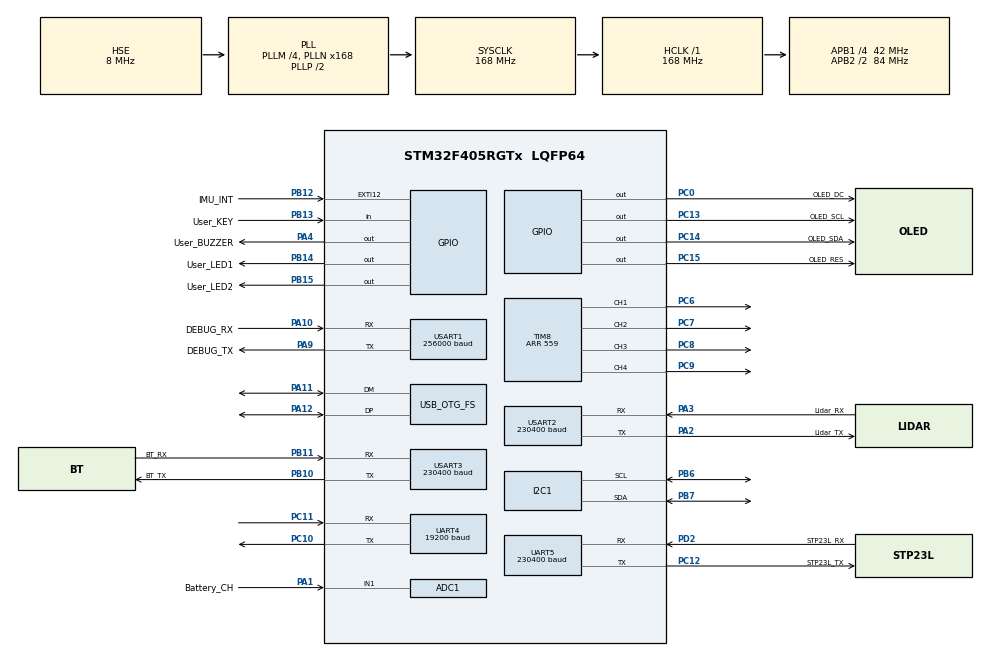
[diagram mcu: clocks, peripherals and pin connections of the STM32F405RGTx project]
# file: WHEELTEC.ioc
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ADC1.Channel-0\#ChannelRegularConversion=ADC_CHANNEL_1
ADC1.ClockPrescaler=ADC_CLOCK_SYNC_PCLK_DIV6
ADC1.ContinuousConvMode=ENABLE
ADC1.DMAContinuousRequests=ENABLE
ADC1.NbrOfConversionFlag=1
ADC1.Rank-0\#ChannelRegularConversion=1
ADC1.SamplingTime-0\#ChannelRegularConversion=ADC_SAMPLETIME_480CYCLES
ADC1.ScanConvMode=ENABLE
ADC1.master=1
Dma.ADC1.6.Direction=DMA_PERIPH_TO_MEMORY
Dma.ADC1.6.FIFOMode=DMA_FIFOMODE_DISABLE
Dma.ADC1.6.Instance=DMA2_Stream0
Dma.ADC1.6.MemDataAlignment=DMA_MDATAALIGN_HALFWORD
Dma.ADC1.6.MemInc=DMA_MINC_ENABLE
Dma.ADC1.6.Mode=DMA_CIRCULAR
Dma.ADC1.6.PeriphDataAlignment=DMA_PDATAALIGN_HALFWORD
Dma.ADC1.6.PeriphInc=DMA_PINC_DISABLE
Dma.ADC1.6.Priority=DMA_PRIORITY_LOW
Dma.Request0=USART3_TX
Dma.Request1=USART2_RX
Dma.Request2=TIM8_CH1
Dma.Request3=TIM8_CH2
Dma.Request4=TIM8_CH3
Dma.Request5=TIM8_CH4/TRIG/COM
Dma.Request6=ADC1
Dma.Request7=UART5_RX
Dma.Request8=UART4_RX
Dma.TIM8_CH1.2.Direction=DMA_MEMORY_TO_PERIPH
Dma.TIM8_CH1.2.FIFOMode=DMA_FIFOMODE_DISABLE
Dma.TIM8_CH1.2.Instance=DMA2_Stream2
Dma.TIM8_CH1.2.MemDataAlignment=DMA_MDATAALIGN_HALFWORD
Dma.TIM8_CH1.2.MemInc=DMA_MINC_ENABLE
Dma.TIM8_CH1.2.Mode=DMA_NORMAL
Dma.TIM8_CH1.2.PeriphDataAlignment=DMA_PDATAALIGN_HALFWORD
Dma.TIM8_CH1.2.PeriphInc=DMA_PINC_DISABLE
Dma.TIM8_CH1.2.Priority=DMA_PRIORITY_LOW
Dma.TIM8_CH2.3.Direction=DMA_MEMORY_TO_PERIPH
Dma.TIM8_CH2.3.FIFOMode=DMA_FIFOMODE_DISABLE
Dma.TIM8_CH2.3.Instance=DMA2_Stream3
Dma.TIM8_CH2.3.MemDataAlignment=DMA_MDATAALIGN_HALFWORD
Dma.TIM8_CH2.3.MemInc=DMA_MINC_ENABLE
Dma.TIM8_CH2.3.Mode=DMA_NORMAL
Dma.TIM8_CH2.3.PeriphDataAlignment=DMA_PDATAALIGN_HALFWORD
Dma.TIM8_CH2.3.PeriphInc=DMA_PINC_DISABLE
Dma.TIM8_CH2.3.Priority=DMA_PRIORITY_LOW
Dma.TIM8_CH3.4.Direction=DMA_MEMORY_TO_PERIPH
Dma.TIM8_CH3.4.FIFOMode=DMA_FIFOMODE_DISABLE
Dma.TIM8_CH3.4.Instance=DMA2_Stream4
Dma.TIM8_CH3.4.MemDataAlignment=DMA_MDATAALIGN_HALFWORD
Dma.TIM8_CH3.4.MemInc=DMA_MINC_ENABLE
Dma.TIM8_CH3.4.Mode=DMA_NORMAL
Dma.TIM8_CH3.4.PeriphDataAlignment=DMA_PDATAALIGN_HALFWORD
Dma.TIM8_CH3.4.PeriphInc=DMA_PINC_DISABLE
Dma.TIM8_CH3.4.Priority=DMA_PRIORITY_LOW
Dma.TIM8_CH4/TRIG/COM.5.Direction=DMA_MEMORY_TO_PERIPH
Dma.TIM8_CH4/TRIG/COM.5.FIFOMode=DMA_FIFOMODE_DISABLE
Dma.TIM8_CH4/TRIG/COM.5.Instance=DMA2_Stream7
Dma.TIM8_CH4/TRIG/COM.5.MemDataAlignment=DMA_MDATAALIGN_HALFWORD
Dma.TIM8_CH4/TRIG/COM.5.MemInc=DMA_MINC_ENABLE
Dma.TIM8_CH4/TRIG/COM.5.Mode=DMA_NORMAL
Dma.TIM8_CH4/TRIG/COM.5.PeriphDataAlignment=DMA_PDATAALIGN_HALFWORD
Dma.TIM8_CH4/TRIG/COM.5.PeriphInc=DMA_PINC_DISABLE
Dma.TIM8_CH4/TRIG/COM.5.Priority=DMA_PRIORITY_LOW
Dma.UART4_RX.8.Direction=DMA_PERIPH_TO_MEMORY
Dma.UART4_RX.8.FIFOMode=DMA_FIFOMODE_DISABLE
Dma.UART4_RX.8.Instance=DMA1_Stream2
Dma.UART4_RX.8.MemDataAlignment=DMA_MDATAALIGN_BYTE
Dma.UART4_RX.8.MemInc=DMA_MINC_ENABLE
Dma.UART4_RX.8.Mode=DMA_NORMAL
Dma.UART4_RX.8.PeriphDataAlignment=DMA_PDATAALIGN_BYTE
Dma.UART4_RX.8.PeriphInc=DMA_PINC_DISABLE
Dma.UART4_RX.8.Priority=DMA_PRIORITY_LOW
Dma.UART5_RX.7.Direction=DMA_PERIPH_TO_MEMORY
Dma.UART5_RX.7.FIFOMode=DMA_FIFOMODE_DISABLE
Dma.UART5_RX.7.Instance=DMA1_Stream0
Dma.UART5_RX.7.MemDataAlignment=DMA_MDATAALIGN_BYTE
Dma.UART5_RX.7.MemInc=DMA_MINC_ENABLE
Dma.UART5_RX.7.Mode=DMA_NORMAL
Dma.UART5_RX.7.PeriphDataAlignment=DMA_PDATAALIGN_BYTE
Dma.UART5_RX.7.PeriphInc=DMA_PINC_DISABLE
Dma.UART5_RX.7.Priority=DMA_PRIORITY_LOW
Dma.USART2_RX.1.Direction=DMA_PERIPH_TO_MEMORY
Dma.USART2_RX.1.FIFOMode=DMA_FIFOMODE_DISABLE
Dma.USART2_RX.1.Instance=DMA1_Stream5
Dma.USART2_RX.1.MemDataAlignment=DMA_MDATAALIGN_BYTE
Dma.USART2_RX.1.MemInc=DMA_MINC_ENABLE
Dma.USART2_RX.1.Mode=DMA_NORMAL
Dma.USART2_RX.1.PeriphDataAlignment=DMA_PDATAALIGN_BYTE
Dma.USART2_RX.1.PeriphInc=DMA_PINC_DISABLE
Dma.USART2_RX.1.Priority=DMA_PRIORITY_HIGH
Dma.USART3_TX.0.Direction=DMA_MEMORY_TO_PERIPH
Dma.USART3_TX.0.FIFOMode=DMA_FIFOMODE_DISABLE
Dma.USART3_TX.0.Instance=DMA1_Stream3
Dma.USART3_TX.0.MemDataAlignment=DMA_MDATAALIGN_BYTE
Dma.USART3_TX.0.MemInc=DMA_MINC_ENABLE
Dma.USART3_TX.0.Mode=DMA_NORMAL
Dma.USART3_TX.0.PeriphDataAlignment=DMA_PDATAALIGN_BYTE
Dma.USART3_TX.0.PeriphInc=DMA_PINC_DISABLE
Dma.USART3_TX.0.Priority=DMA_PRIORITY_LOW
FREERTOS.Tasks01=defaultTask,24,128,StartDefaultTask,Default,NULL,Dynamic,NULL,NULL
FREERTOS.configCHECK_FOR_STACK_OVERFLOW=2
FREERTOS.configENABLE_FPU=1
FREERTOS.configGENERATE_RUN_TIME_STATS=1
FREERTOS.configLIBRARY_MAX_SYSCALL_INTERRUPT_PRIORITY=5
FREERTOS.configMINIMAL_STACK_SIZE=128
FREERTOS.configTIMER_TASK_PRIORITY=25
FREERTOS.configTIMER_TASK_STACK_DEPTH=256
FREERTOS.configTOTAL_HEAP_SIZE=25600
FREERTOS.configUSE_IDLE_HOOK=1
FREERTOS.configUSE_MALLOC_FAILED_HOOK=1
FREERTOS.configUSE_STATS_FORMATTING_FUNCTIONS=1
I2C1.I2C_Mode=I2C_Fast
Mcu.Family=STM32F4
Mcu.Name=STM32F405RGTx
Mcu.Package=LQFP64
NVIC.DMA1_Stream0_IRQn=true\:5\:0\:false\:false\:true\:true\:false\:true\:true
NVIC.DMA1_Stream2_IRQn=true\:5\:0\:false\:false\:true\:true\:false\:true\:true
NVIC.DMA1_Stream3_IRQn=true\:5\:0\:false\:false\:true\:true\:false\:true\:true
NVIC.DMA1_Stream5_IRQn=true\:5\:0\:false\:false\:true\:true\:false\:true\:true
NVIC.DMA2_Stream0_IRQn=true\:5\:0\:false\:false\:true\:true\:false\:true\:true
NVIC.DMA2_Stream2_IRQn=true\:5\:0\:false\:false\:true\:true\:false\:true\:true
NVIC.DMA2_Stream3_IRQn=true\:5\:0\:false\:false\:true\:true\:false\:true\:true
NVIC.DMA2_Stream4_IRQn=true\:5\:0\:false\:false\:true\:true\:false\:true\:true
NVIC.DMA2_Stream7_IRQn=true\:5\:0\:false\:false\:true\:true\:false\:true\:true
NVIC.EXTI15_10_IRQn=true\:5\:0\:true\:false\:true\:false\:true\:true\:true
NVIC.OTG_FS_IRQn=true\:5\:0\:false\:false\:true\:true\:true\:true\:true
NVIC.PriorityGroup=NVIC_PRIORITYGROUP_4
NVIC.TIM7_IRQn=true\:0\:0\:true\:false\:true\:false\:false\:true\:true
NVIC.TIM8_UP_TIM13_IRQn=true\:5\:0\:false\:false\:true\:true\:true\:true\:true
NVIC.TimeBase=TIM7_IRQn
NVIC.TimeBaseIP=TIM7
NVIC.UART4_IRQn=true\:5\:0\:false\:false\:true\:true\:true\:true\:true
NVIC.UART5_IRQn=true\:5\:0\:false\:false\:true\:true\:true\:true\:true
NVIC.USART1_IRQn=true\:5\:0\:true\:false\:true\:true\:false\:true\:true
NVIC.USART2_IRQn=true\:8\:0\:true\:false\:true\:true\:true\:true\:true
NVIC.USART3_IRQn=true\:6\:0\:true\:false\:true\:true\:true\:true\:true
PA1.GPIO_Label=Battery_CH
PA1.Signal=ADCx_IN1
PA10.GPIO_Label=DEBUG_RX
PA10.Mode=Asynchronous
PA10.Signal=USART1_RX
PA11.Mode=Host_Only
PA11.Signal=USB_OTG_FS_DM
PA12.Mode=Host_Only
PA12.Signal=USB_OTG_FS_DP
PA13.Mode=Serial_Wire
PA13.Signal=SYS_JTMS-SWDIO
PA14.Mode=Serial_Wire
PA14.Signal=SYS_JTCK-SWCLK
PA2.GPIO_Label=Lidar_TX
PA2.Mode=Asynchronous
PA2.Signal=USART2_TX
PA3.GPIO_Label=Lidar_RX
PA3.Mode=Asynchronous
PA3.Signal=USART2_RX
PA4.GPIO_Label=User_BUZZER
PA4.GPIO_PuPd=GPIO_PULLDOWN
PA4.Signal=GPIO_Output
PA9.GPIO_Label=DEBUG_TX
PA9.Mode=Asynchronous
PA9.Signal=USART1_TX
PB10.GPIO_Label=BT_TX
PB10.Mode=Asynchronous
PB10.Signal=USART3_TX
PB11.GPIO_Label=BT_RX
PB11.Mode=Asynchronous
PB11.Signal=USART3_RX
PB12.GPIO_Label=IMU_INT
PB12.GPIO_ModeDefaultEXTI=GPIO_MODE_IT_RISING
PB12.GPIO_PuPd=GPIO_PULLDOWN
PB12.Signal=GPXTI12
PB13.GPIO_Label=User_KEY
PB13.Signal=GPIO_Input
PB14.GPIO_Label=User_LED1
PB14.GPIO_ModeDefaultOutputPP=GPIO_MODE_OUTPUT_PP
PB14.GPIO_PuPd=GPIO_PULLUP
PB14.PinState=GPIO_PIN_SET
PB14.Signal=GPIO_Output
PB15.GPIO_Label=User_LED2
PB15.GPIO_PuPd=GPIO_PULLUP
PB15.PinState=GPIO_PIN_SET
PB15.Signal=GPIO_Output
PB6.Mode=I2C
PB6.Signal=I2C1_SCL
PB7.Mode=I2C
PB7.Signal=I2C1_SDA
PC0.GPIO_Label=OLED_DC
PC0.Signal=GPIO_Output
PC10.Mode=Asynchronous
PC10.Signal=UART4_TX
PC11.Mode=Asynchronous
PC11.Signal=UART4_RX
PC12.GPIO_Label=STP23L_TX
PC12.Mode=Asynchronous
PC12.Signal=UART5_TX
PC13-ANTI_TAMP.GPIO_Label=OLED_SCL
PC13-ANTI_TAMP.Signal=GPIO_Output
PC14-OSC32_IN.GPIO_Label=OLED_SDA
PC14-OSC32_IN.Signal=GPIO_Output
PC15-OSC32_OUT.GPIO_Label=OLED_RES
PC15-OSC32_OUT.Signal=GPIO_Output
PC6.GPIO_Speed=GPIO_SPEED_FREQ_VERY_HIGH
PC6.Signal=S_TIM8_CH1
PC7.GPIO_Speed=GPIO_SPEED_FREQ_VERY_HIGH
PC7.Signal=S_TIM8_CH2
PC8.GPIO_Speed=GPIO_SPEED_FREQ_VERY_HIGH
PC8.Signal=S_TIM8_CH3
PC9.GPIO_Speed=GPIO_SPEED_FREQ_VERY_HIGH
PC9.Signal=S_TIM8_CH4
PD2.GPIO_Label=STP23L_RX
PD2.Mode=Asynchronous
PD2.Signal=UART5_RX
PH0-OSC_IN.Mode=HSE-External-Oscillator
PH0-OSC_IN.Signal=RCC_OSC_IN
PH1-OSC_OUT.Mode=HSE-External-Oscillator
PH1-OSC_OUT.Signal=RCC_OSC_OUT
ProjectManager.HeapSize=0x200
ProjectManager.StackSize=0x400
ProjectManager.TargetToolchain=MDK-ARM V5.32
RCC.48MHZClocksFreq_Value=48000000
RCC.AHBFreq_Value=168000000
RCC.APB1CLKDivider=RCC_HCLK_DIV4
RCC.APB1Freq_Value=42000000
RCC.APB1TimFreq_Value=84000000
RCC.APB2CLKDivider=RCC_HCLK_DIV2
RCC.APB2Freq_Value=84000000
RCC.APB2TimFreq_Value=168000000
RCC.CortexFreq_Value=168000000
RCC.HCLKFreq_Value=168000000
RCC.HSE_VALUE=8000000
RCC.HSI_VALUE=16000000
RCC.LSE_VALUE=32768
RCC.PLLM=4
RCC.PLLN=168
RCC.PLLQ=7
RCC.SYSCLKFreq_VALUE=168000000
RCC.SYSCLKSource=RCC_SYSCLKSOURCE_PLLCLK
RCC.VCOOutputFreq_Value=336000000
SH.ADCx_IN1.0=ADC1_IN1,IN1
SH.S_TIM8_CH1.0=TIM8_CH1,PWM Generation1 CH1
SH.S_TIM8_CH2.0=TIM8_CH2,PWM Generation2 CH2
SH.S_TIM8_CH3.0=TIM8_CH3,PWM Generation3 CH3
SH.S_TIM8_CH4.0=TIM8_CH4,PWM Generation4 CH4
TIM6.Period=0xffff
TIM6.Prescaler=839
TIM8.Channel-PWM\ Generation1\ CH1=TIM_CHANNEL_1
TIM8.Channel-PWM\ Generation2\ CH2=TIM_CHANNEL_2
TIM8.Channel-PWM\ Generation3\ CH3=TIM_CHANNEL_3
TIM8.Channel-PWM\ Generation4\ CH4=TIM_CHANNEL_4
TIM8.Period=559
UART4.BaudRate=19200
UART4.VirtualMode=Asynchronous
UART5.BaudRate=230400
UART5.VirtualMode=Asynchronous
USART1.BaudRate=256000
USART1.VirtualMode=VM_ASYNC
USART2.BaudRate=230400
USART2.VirtualMode=VM_ASYNC
USART3.BaudRate=230400
USART3.VirtualMode=VM_ASYNC
USB_HOST.SW_VBUS_DRIVE_HID_FS=true
USB_HOST.USBH_HandleTypeDef-HID_FS=hUsbHostFS
USB_HOST.USBH_MAX_DATA_BUFFER-HID_FS=1024
USB_HOST.USBH_MAX_NUM_SUPPORTED_CLASS-HID_FS=2
USB_HOST.USBH_PROCESS_STACK_SIZE-HID_FS=1024
USB_HOST.VirtualModeFS=Hid
USB_OTG_FS.VirtualMode=Host_Only
USB_OTG_FS.phy_itface=HCD_PHY_EMBEDDED
VP_FREERTOS_VS_CMSIS_V2.Mode=CMSIS_V2
VP_SYS_VS_tim7.Mode=TIM7
VP_TIM6_VS_ClockSourceINT.Mode=Enable_Timer
VP_TIM8_VS_ClockSourceINT.Mode=Internal
VP_USB_HOST_VS_USB_HOST_HID_FS.Mode=HID_FS
board=custom

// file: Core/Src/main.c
/* USER CODE BEGIN Header */
/**
  ******************************************************************************
  * @file           : main.c
  * @brief          : Main program body
  ******************************************************************************
  * @attention
  *
  * Copyright (c) 2024 STMicroelectronics.
  * All rights reserved.
  *
  * This software is licensed under terms that can be found in the LICENSE file
  * in the root directory of this software component.
  * If no LICENSE file comes with this software, it is provided AS-IS.
  *
  ******************************************************************************
  */
/* USER CODE END Header */
#include "main.h"
#include "cmsis_os.h"
#include "adc.h"
#include "dma.h"
#include "i2c.h"
#include "tim.h"
#include "usart.h"
#include "usb_host.h"
#include "gpio.h"

/* USER CODE BEGIN Includes */
//C Lib
#include <stdio.h>

//FreeRTOS
#include "FreeRTOS.h"
#include "semphr.h"

//HAL

//BSP
#include "bsp_led.h"
#include "bsp_oled.h"
#include "bsp_adc.h"
#include "bsp_imu.h"
#include "bsp_LC307.h"

/* USER CODE END Includes */

/* USER CODE BEGIN PV */
uint8_t uart1_recv,uart4_recv;
float g_userparam_pitchzero = 0 , g_userparam_rollzero = 0;
DebugShowVal_t g_debugVal = { 0 };
/* USER CODE END PV */

void SystemClock_Config(void);
void MX_FREERTOS_Init(void);

int main(void)
{

  /* MCU Configuration--------------------------------------------------------*/

  /* Reset of all peripherals, Initializes the Flash interface and the Systick. */
  HAL_Init();

  /* Configure the system clock */
  SystemClock_Config();

  /* Initialize all configured peripherals */
  MX_GPIO_Init();
  MX_DMA_Init();
  MX_USART1_UART_Init();
  MX_USART2_UART_Init();
  MX_TIM6_Init();
  MX_TIM8_Init();
  MX_I2C1_Init();
  MX_ADC1_Init();
  MX_UART5_Init();
  MX_UART4_Init();
  MX_USART3_UART_Init();
  /* USER CODE BEGIN 2 */

	pOLEDInterface_t oled = &UserOLED;
	oled->init();

	//蓝牙、调试串口
	HAL_UART_Receive_IT(&huart4,&uart4_recv,1);
	HAL_UART_Receive_IT(&huart1,&uart1_recv,1);

	//用户调试定时器
	HAL_TIM_Base_Start(&htim6);

	//ADC初始化
	pADCInterface_t adc1 = &UserADC1;
	adc1->init();

	//使用硬件IIC时需要
	//检查硬件IIC是否出现BUSY异常
	if( (I2C1->SR2>>1)&0x01 )
	{
		HAL_I2C_MspDeInit(&hi2c1);

		//将IIC总线强制释放
		GPIO_InitTypeDef GPIO_InitStruct = {0};
		GPIO_InitStruct.Pin = GPIO_PIN_6|GPIO_PIN_7;
		GPIO_InitStruct.Mode = GPIO_MODE_OUTPUT_PP;
		GPIO_InitStruct.Pull = GPIO_PULLUP;
		GPIO_InitStruct.Speed = GPIO_SPEED_FREQ_LOW;
		HAL_GPIO_Init(GPIOB, &GPIO_InitStruct);
		HAL_GPIO_WritePin(GPIOB,GPIO_PIN_6,GPIO_PIN_SET);
		HAL_GPIO_WritePin(GPIOB,GPIO_PIN_7,GPIO_PIN_SET);

		//重新初始化IIC
		I2C1->CR1 &= ~(1<<0);//禁止IIC外设
		HAL_Delay(50);
		I2C1->CR1 |= (1<<0);//重新使能
		I2C1->CR1 |= (1<<15);//进行软件复位
		HAL_Delay(50);
		I2C1->CR1 &= ~(1<<15);
		MX_I2C1_Init();
	}

  //icm20948初始化与状态提示
  pLedInterface_t imu_initled = &UserLed1;
  pIMUInterface_t imu = &UserICM20948;

  imu_initled -> off();
  while( imu->Init() )
  {
	  imu_initled -> toggle();//初始化过程出错,闪烁
	  HAL_Delay(60);
	  NVIC_SystemReset();
  }
  imu_initled -> on();//初始化完成,亮灯提示

  //光流模块初始化
  Opf_LC307_Init();

  //读取用户设定的零点数据
  extern void User_Flash_ReadParam(uint32_t* p,uint16_t datalen);
  int32_t tmp[2] = { 0 } ;
  User_Flash_ReadParam((uint32_t*)tmp,2);
  if( tmp[0]!=0xffffffff )
	  g_userparam_pitchzero = *((float*)&tmp[0]);
  if( tmp[1]!=0xffffffff )
	  g_userparam_rollzero = *((float*)&tmp[1]);

  /* USER CODE END 2 */

  /* Init scheduler */
  osKernelInitialize();

  /* Call init function for freertos objects (in cmsis_os2.c) */
  MX_FREERTOS_Init();

  /* Start scheduler */
  osKernelStart();

  /* We should never get here as control is now taken by the scheduler */

  /* Infinite loop */
  while (1)
  {

  }
}

void SystemClock_Config(void)
{
  RCC_OscInitTypeDef RCC_OscInitStruct = {0};
  RCC_ClkInitTypeDef RCC_ClkInitStruct = {0};

  /** Configure the main internal regulator output voltage
  */
  __HAL_RCC_PWR_CLK_ENABLE();
  __HAL_PWR_VOLTAGESCALING_CONFIG(PWR_REGULATOR_VOLTAGE_SCALE1);

  /** Initializes the RCC Oscillators according to the specified parameters
  * in the RCC_OscInitTypeDef structure.
  */
  RCC_OscInitStruct.OscillatorType = RCC_OSCILLATORTYPE_HSE;
  RCC_OscInitStruct.HSEState = RCC_HSE_ON;
  RCC_OscInitStruct.PLL.PLLState = RCC_PLL_ON;
  RCC_OscInitStruct.PLL.PLLSource = RCC_PLLSOURCE_HSE;
  RCC_OscInitStruct.PLL.PLLM = 4;
  RCC_OscInitStruct.PLL.PLLN = 168;
  RCC_OscInitStruct.PLL.PLLP = RCC_PLLP_DIV2;
  RCC_OscInitStruct.PLL.PLLQ = 7;
  if (HAL_RCC_OscConfig(&RCC_OscInitStruct) != HAL_OK)
  {
    Error_Handler();
  }

  /** Initializes the CPU, AHB and APB buses clocks
  */
  RCC_ClkInitStruct.ClockType = RCC_CLOCKTYPE_HCLK|RCC_CLOCKTYPE_SYSCLK
                              |RCC_CLOCKTYPE_PCLK1|RCC_CLOCKTYPE_PCLK2;
  RCC_ClkInitStruct.SYSCLKSource = RCC_SYSCLKSOURCE_PLLCLK;
  RCC_ClkInitStruct.AHBCLKDivider = RCC_SYSCLK_DIV1;
  RCC_ClkInitStruct.APB1CLKDivider = RCC_HCLK_DIV4;
  RCC_ClkInitStruct.APB2CLKDivider = RCC_HCLK_DIV2;

  if (HAL_RCC_ClockConfig(&RCC_ClkInitStruct, FLASH_LATENCY_5) != HAL_OK)
  {
    Error_Handler();
  }
}

/* USER CODE BEGIN 4 */

UART_HandleTypeDef *DebugSerial = &huart1;

//实现printf、scanf函数
int fputc(int ch,FILE* stream)
{
	while( HAL_OK != HAL_UART_Transmit(DebugSerial,(const uint8_t *)&ch,1,100));
	return ch;
}

static xSemaphoreHandle debug_1_HandleMutex;
static char g_last_char;
static char g_backspace;

int fgetc(FILE* f)
{
	//没有初始化则调用初始化函数
	static uint8_t init = 0;
	if( init == 0 )
	{
		init = 1;
		debug_1_HandleMutex = xSemaphoreCreateMutex();
	}

	int ch;
	if( g_backspace )
	{
		xSemaphoreTake(debug_1_HandleMutex,portMAX_DELAY);
		g_backspace = 0 ;
		xSemaphoreGive(debug_1_HandleMutex);

		return g_last_char;
	}

	while( HAL_OK!= HAL_UART_Receive(DebugSerial,(uint8_t *)&ch,1,HAL_MAX_DELAY) );
	g_last_char = ch;
	return ch;
}

int __backspace(FILE *stream)
{
	xSemaphoreTake(debug_1_HandleMutex,portMAX_DELAY);
	g_backspace = 1 ;
	xSemaphoreGive(debug_1_HandleMutex);
	return 0;
}

//定时器8更新中断回调函数
__weak void User_TIM8_UpdateCallback(void)
{

}

/* USER CODE END 4 */

void HAL_TIM_PeriodElapsedCallback(TIM_HandleTypeDef *htim)
{
  if (htim->Instance == TIM7) {
    HAL_IncTick();
  }
  /* USER CODE BEGIN Callback 1 */
	else if(TIM8 == htim->Instance)
	{
		User_TIM8_UpdateCallback();
	}

  /* USER CODE END Callback 1 */
}

void Error_Handler(void)
{
  __disable_irq();
  while (1)
  {
  }
}

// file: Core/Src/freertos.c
/* USER CODE BEGIN Header */
/**
  ******************************************************************************
  * File Name          : freertos.c
  * Description        : Code for freertos applications
  ******************************************************************************
  * @attention
  *
  * Copyright (c) 2024 STMicroelectronics.
  * All rights reserved.
  *
  * This software is licensed under terms that can be found in the LICENSE file
  * in the root directory of this software component.
  * If no LICENSE file comes with this software, it is provided AS-IS.
  *
  ******************************************************************************
  */
/* USER CODE END Header */

#include "FreeRTOS.h"
#include "task.h"
#include "main.h"
#include "cmsis_os.h"

/* USER CODE BEGIN Includes */

//C Lib
#include <stdio.h>

#include "queue.h"
#include "semphr.h"
#include "event_groups.h"

//HAL
#include "usart.h"

//BSP
#include "bsp_stp23L.h"
#include "bsp_N10.h"

//APP
#include "balance_task.h"

/* USER CODE END Includes */

/* USER CODE BEGIN PD */
#define userconfig_OPEN_STACK_CHECK 0     //开启任务栈大小检查打印
#define userconfig_OPEN_CPU_USAGE_CHECK 0 //开启检查CPU占比打印
#define userconfig_OPEN_CHECK_HEAPSIZE 0  //检查剩余的堆大小
/* USER CODE END PD */

/* USER CODE BEGIN Variables */
xSemaphoreHandle HandleMutex_printf;

//任务句柄
TaskHandle_t sensorhandleTask_Handle;
TaskHandle_t balanceTask_Handle;

//队列、队列集
QueueHandle_t g_xQueuestp23L_Ori;     //外围设备：stp23L激光测距 原始数据的队列
QueueHandle_t g_xQueueN10_Ori;        //外围设备：N10雷达        原始数据的队列
QueueSetHandle_t g_xQueueSetSensor;   //创建队列集，存放各个传感器队列的句柄
QueueHandle_t g_xQueueFlyControl;     //四轴飞行器控制队列
QueueHandle_t g_xQueueBlueTooth_Ori;  //蓝牙APP原始数据

//事件组
EventGroupHandle_t g_xEventFlyAction; //四轴动作事件组

/* USER CODE END Variables */
/* Definitions for defaultTask */
osThreadId_t defaultTaskHandle;
const osThreadAttr_t defaultTask_attributes = {
  .name = "defaultTask",
  .stack_size = 128 * 4,
  .priority = (osPriority_t) osPriorityNormal,
};

/* USER CODE BEGIN FunctionPrototypes */

//RTOS系统检测任务
#if ( 1 == userconfig_OPEN_CPU_USAGE_CHECK ) || ( 1 == userconfig_OPEN_STACK_CHECK ) || ( 1 == userconfig_OPEN_CHECK_HEAPSIZE )
void CpuUsageCheckTask(void *param);
#endif

//显示任务
__weak void ShowTask(void* param)
{
	for(;;) vTaskDelay(1);
}

//外围传感器数据处理任务
__weak void SensorHandleTask(void* param)
{
	for(;;) vTaskDelay(1);
}

//平衡主控制任务
__weak void balance_task(void* param)
{
	for(;;) vTaskDelay(1);
}

//蓝牙APP控制任务
__weak void BluetoothAPPControl_task(void* param)
{
	for(;;) vTaskDelay(1);
}

/* USER CODE END FunctionPrototypes */

void StartDefaultTask(void *argument);

extern void MX_USB_HOST_Init(void);
void MX_FREERTOS_Init(void); /* (MISRA C 2004 rule 8.1) */

/* Hook prototypes */
void configureTimerForRunTimeStats(void);
unsigned long getRunTimeCounterValue(void);
void vApplicationIdleHook(void);
void vApplicationStackOverflowHook(xTaskHandle xTask, signed char *pcTaskName);
void vApplicationMallocFailedHook(void);

/* USER CODE BEGIN 1 */
/* Functions needed when configGENERATE_RUN_TIME_STATS is on */
__weak void configureTimerForRunTimeStats(void)
{
	//使用cpu占比计时器前初始化内容
	TIM6->CNT = 0;
}

__weak unsigned long getRunTimeCounterValue(void)
{
	static unsigned long time = 0 ;
	static uint16_t lasttime = 0;
	static uint16_t nowtime = 0;

	nowtime = TIM6->CNT; //获得当前计数值

	//如果本次计数值小于上次计数值，说明发生了定时器计数溢出
	if( nowtime < lasttime )
	{
		time += (nowtime + 0xffff - lasttime); //溢出后的时间增量
	}
	else time += ( nowtime - lasttime ) ; //未发生溢出，增量为本次时间-上次时间

	lasttime = nowtime;

	return time;
}

/* USER CODE END 1 */

/* USER CODE BEGIN 2 */
void vApplicationIdleHook( void )
{
   /* vApplicationIdleHook() will only be called if configUSE_IDLE_HOOK is set
   to 1 in FreeRTOSConfig.h. It will be called on each iteration of the idle
   task. It is essential that code added to this hook function never attempts
   to block in any way (for example, call xQueueReceive() with a block time
   specified, or call vTaskDelay()). If the application makes use of the
   vTaskDelete() API function (as this demo application does) then it is also
   important that vApplicationIdleHook() is permitted to return to its calling
   function, because it is the responsibility of the idle task to clean up
   memory allocated by the kernel to any task that has since been deleted. */
}
/* USER CODE END 2 */

/* USER CODE BEGIN 4 */
void vApplicationStackOverflowHook(xTaskHandle xTask, signed char *pcTaskName)
{
   /* Run time stack overflow checking is performed if
   configCHECK_FOR_STACK_OVERFLOW is defined to 1 or 2. This hook function is
   called if a stack overflow is detected. */
	printf("%s stack overflow\r\n",pcTaskName);
}
/* USER CODE END 4 */

/* USER CODE BEGIN 5 */
void vApplicationMallocFailedHook(void)
{
   /* vApplicationMallocFailedHook() will only be called if
   configUSE_MALLOC_FAILED_HOOK is set to 1 in FreeRTOSConfig.h. It is a hook
   function that will get called if a call to pvPortMalloc() fails.
   pvPortMalloc() is called internally by the kernel whenever a task, queue,
   timer or semaphore is created. It is also called by various parts of the
   demo application. If heap_1.c or heap_2.c are used, then the size of the
   heap available to pvPortMalloc() is defined by configTOTAL_HEAP_SIZE in
   FreeRTOSConfig.h, and the xPortGetFreeHeapSize() API function can be used
   to query the size of free heap space that remains (although it does not
   provide information on how the remaining heap might be fragmented). */
	printf("malloc failed.check heapsize\r\n");
}
/* USER CODE END 5 */

void MX_FREERTOS_Init(void) {

  /* USER CODE BEGIN RTOS_MUTEX */
  /* add mutexes, ... */
	HandleMutex_printf = xSemaphoreCreateMutex();

  /* USER CODE END RTOS_MUTEX */

  /* USER CODE BEGIN RTOS_QUEUES */
  /* add queues, ... */
	/* 队列创建 */
	g_xQueuestp23L_Ori = xQueueCreate(10,sizeof(OriData_STP23L_t));
	g_xQueueN10_Ori    = xQueueCreate(20,sizeof(OriData_N10_t));
	g_xQueueFlyControl = xQueueCreate(1,sizeof(FlyControlType_t));
	g_xQueueBlueTooth_Ori = xQueueCreate(50,sizeof(char));

	/* 队列集创建,加入队列集 */
	g_xQueueSetSensor = xQueueCreateSet( 10 + 20 );
	xQueueAddToSet(g_xQueuestp23L_Ori,g_xQueueSetSensor);
	xQueueAddToSet(g_xQueueN10_Ori,g_xQueueSetSensor);
  /* USER CODE END RTOS_QUEUES */

  /* Create the thread(s) */
  /* creation of defaultTask */
  defaultTaskHandle = osThreadNew(StartDefaultTask, NULL, &defaultTask_attributes);

  /* USER CODE BEGIN RTOS_THREADS */
  /* add threads, ... */
   xTaskCreate(ShowTask,"ShowTask",128*2,NULL,osPriorityBelowNormal7,NULL);
   xTaskCreate(SensorHandleTask,"SensorTask",128*2,NULL,osPriorityNormal,&sensorhandleTask_Handle);
   xTaskCreate(balance_task,"BalanceTask",128*4,NULL,osPriorityNormal,&balanceTask_Handle);
   xTaskCreate(BluetoothAPPControl_task,"BTAPPTask",128*2,NULL,osPriorityNormal,NULL);

	//调试任务
	#if ( 1 == userconfig_OPEN_CPU_USAGE_CHECK ) || ( 1 == userconfig_OPEN_STACK_CHECK ) || ( 1 == userconfig_OPEN_CHECK_HEAPSIZE )
	 static uint16_t delaytime = 5000;//打印时间间隔，单位tick
	 xTaskCreate(CpuUsageCheckTask,"DebugTask",128, &delaytime ,osPriorityAboveNormal,NULL);
	#endif
  /* USER CODE END RTOS_THREADS */

  /* USER CODE BEGIN RTOS_EVENTS */
  /* add events, ... */
	g_xEventFlyAction = xEventGroupCreate();//创建四轴动作事件组的实例

  /* USER CODE END RTOS_EVENTS */

}

void StartDefaultTask(void *argument)
{
  /* init code for USB_HOST */
  MX_USB_HOST_Init();
  /* USER CODE BEGIN StartDefaultTask */
  /* Infinite loop */
  for(;;)
  {
	  /* 等待所有任务开始运行后，再使能各个传感器的中断，以便每个数据都能成功与任务联系上 */
	  vTaskDelay(400);

	  /* 启动外围传感器的DMA搬运 */
	  extern OriData_STP23L_t DMABuf_oridata_stp23L;
	  extern OriData_N10_t DMABuf_oridata_N10;
	  HAL_UARTEx_ReceiveToIdle_DMA(&huart5,DMABuf_oridata_stp23L.Buf,userconfig_STP23L_DMABUF_LEN);
	  HAL_UARTEx_ReceiveToIdle_DMA(&huart2,DMABuf_oridata_N10.Buf,userconfig_N10_DMABUF_LEN);

	  vTaskDelete(NULL);//自杀
  }
  /* USER CODE END StartDefaultTask */
}

/* USER CODE BEGIN Application */

#if ( 1 == userconfig_OPEN_CPU_USAGE_CHECK ) || ( 1 == userconfig_OPEN_STACK_CHECK ) || ( 1 == userconfig_OPEN_CHECK_HEAPSIZE )
void CpuUsageCheckTask(void *param)
{
	uint16_t* delaytime = (uint16_t*)param;
	static char showbuf[500];

	while( 1 )
	{
#if 1 == userconfig_OPEN_CPU_USAGE_CHECK
		//打印CPU占比
		vTaskGetRunTimeStats(showbuf);
		xSemaphoreTake(HandleMutex_printf,portMAX_DELAY);
		printf("TaskName\tUseTime\tCPU\r\n");
		printf("%s\r\n",showbuf);
		xSemaphoreGive(HandleMutex_printf);
		vTaskDelay(*delaytime);
#endif

#if 1 == userconfig_OPEN_STACK_CHECK
		//打印剩余任务栈大小,单位word
		vTaskList(showbuf);
		xSemaphoreTake(HandleMutex_printf,portMAX_DELAY);
		printf("TaskName\tTaskState\tTaskPrio\tStackSize\tTaskNum\r\n");
		printf("%s\r\n",showbuf);
		xSemaphoreGive(HandleMutex_printf);
		vTaskDelay(*delaytime);
#endif

#if 1 == userconfig_OPEN_CHECK_HEAPSIZE
		//打印剩余的堆区大小,单位bytes
		xSemaphoreTake(HandleMutex_printf,portMAX_DELAY);
		printf("free heap size : %d bytes\r\n\r\n",xPortGetFreeHeapSize());
		xSemaphoreGive(HandleMutex_printf);
		vTaskDelay(*delaytime);
#endif
	}
}
#endif

/* USER CODE END Application */
